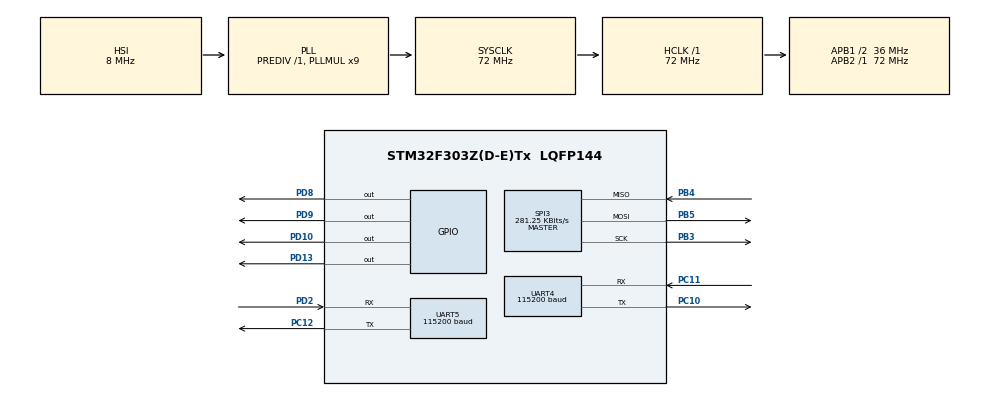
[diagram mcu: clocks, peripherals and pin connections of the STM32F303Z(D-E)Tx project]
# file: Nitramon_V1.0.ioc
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Mcu.Family=STM32F3
Mcu.Name=STM32F303Z(D-E)Tx
Mcu.Package=LQFP144
NVIC.PriorityGroup=NVIC_PRIORITYGROUP_4
PA13.Mode=Serial_Wire
PA13.Signal=SYS_JTMS-SWDIO
PA14.Mode=Serial_Wire
PA14.Signal=SYS_JTCK-SWCLK
PB3.Mode=Full_Duplex_Master
PB3.Signal=SPI3_SCK
PB4.GPIO_PuPd=GPIO_NOPULL
PB4.Mode=Full_Duplex_Master
PB4.Signal=SPI3_MISO
PB5.Mode=Full_Duplex_Master
PB5.Signal=SPI3_MOSI
PC10.GPIO_PuPd=GPIO_NOPULL
PC10.Mode=Asynchronous
PC10.Signal=UART4_TX
PC11.GPIO_PuPd=GPIO_NOPULL
PC11.Mode=Asynchronous
PC11.Signal=UART4_RX
PC12.Mode=Asynchronous
PC12.Signal=UART5_TX
PD10.Signal=GPIO_Output
PD13.Signal=GPIO_Output
PD2.Mode=Asynchronous
PD2.Signal=UART5_RX
PD8.Signal=GPIO_Output
PD9.Signal=GPIO_Output
PF0-OSC_IN.Mode=HSE-External-Oscillator
PF0-OSC_IN.Signal=RCC_OSC_IN
PF1-OSC_OUT.Mode=HSE-External-Oscillator
PF1-OSC_OUT.Signal=RCC_OSC_OUT
ProjectManager.HeapSize=0x200
ProjectManager.StackSize=0x400
ProjectManager.TargetToolchain=STM32CubeIDE
RCC.AHBFreq_Value=72000000
RCC.APB1CLKDivider=RCC_HCLK_DIV2
RCC.APB1Freq_Value=36000000
RCC.APB1TimFreq_Value=72000000
RCC.APB2Freq_Value=72000000
RCC.APB2TimFreq_Value=72000000
RCC.CortexFreq_Value=72000000
RCC.HCLKFreq_Value=72000000
RCC.HSE_VALUE=16000000
RCC.HSI_VALUE=8000000
RCC.LSE_VALUE=32768
RCC.PLLMUL=RCC_PLL_MUL9
RCC.SYSCLKFreq_VALUE=72000000
RCC.SYSCLKSourceVirtual=RCC_SYSCLKSOURCE_PLLCLK
RCC.USBFreq_Value=72000000
SPI3.BaudRatePrescaler=SPI_BAUDRATEPRESCALER_128
SPI3.CLKPhase=SPI_PHASE_2EDGE
SPI3.CalculateBaudRate=281.25 KBits/s
SPI3.DataSize=SPI_DATASIZE_8BIT
SPI3.Direction=SPI_DIRECTION_2LINES
SPI3.Mode=SPI_MODE_MASTER
SPI3.VirtualType=VM_MASTER
UART4.BaudRate=115200
UART5.BaudRate=115200
board=custom

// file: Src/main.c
/* USER CODE BEGIN Header */
/**
  ******************************************************************************
  * @file           : main.c
  * @brief          : Main program body
  ******************************************************************************
  * @attention
  *
  * <h2><center>&copy; Copyright (c) 2020 STMicroelectronics.
  * All rights reserved.</center></h2>
  *
  * This software component is licensed by ST under BSD 3-Clause license,
  * the "License"; You may not use this file except in compliance with the
  * License. You may obtain a copy of the License at:
  *                        opensource.org/licenses/BSD-3-Clause
  *
  ******************************************************************************
  */
/* USER CODE END Header */
#include "main.h"

/* USER CODE BEGIN Includes */
#include "User_Function.h"
#include "Peripheral_Initial.h"
#include "string.h"
#include "stdio.h"
#include<math.h>
#include<stdlib.h>
/* USER CODE END Includes */

/* USER CODE BEGIN PTD */
uint8_t receivedData[40];
uint8_t unit_temp;

uint* temp0;
uint* temp1;
uint* temp2;
uint* temp3;
uint* temp4;
uint* temp5;
uint* temp6;
uint* temp7;
uint* temp8;
uint* temp9;

int8_t *UARTTemp;
char transmit_buffer[40];
uint8_t buff_length;

int method = 0;
char methodName [20];
 char unit[4];

//Variables for Impedance spectroscopy
char frequency_type[6];
char min_frequency_unit[4];
char max_frequency_unit[4];
char error[50];
int rand_count=1;
uint16_t Frequency_List[IS_MaxNoOfSineFreq];
float Frequency_List1[IS_MaxNoOfSineFreq];
uint8_t IS_default_switch_value=0x04;

/* USER CODE END PTD */

SPI_HandleTypeDef hspi3;

UART_HandleTypeDef huart4;
UART_HandleTypeDef huart5;

/* USER CODE BEGIN PV */

//char sendingData[30];
/* USER CODE END PV */

void SystemClock_Config(void);
static void MX_GPIO_Init(void);
static void MX_UART4_Init(void);
static void MX_UART5_Init(void);
static void MX_SPI3_Init(void);

/* USER CODE BEGIN 0 */
void Nucleo_LED(void);
void Nucleo_LED()
{
	RCC->AHBENR |= 0x040000;
	GPIOB->MODER |=0x4000;
	LED_On_GPIO_SetLow(GPIOB,GPIO_PIN_7);
//	LED_Off_GPIO_SetHigh(GPIOB,GPIO_PIN_7);
}

/* USER CODE END 0 */

int main(void)
{

  /* MCU Configuration--------------------------------------------------------*/

  /* Reset of all peripherals, Initializes the Flash interface and the Systick. */
  HAL_Init();

  /* Configure the system clock */
  SystemClock_Config();

  /* Initialize all configured peripherals */
  MX_GPIO_Init();
  MX_UART4_Init();
  MX_UART5_Init();
  MX_SPI3_Init();
  /* USER CODE BEGIN 2 */
  General_GPIO_Init();

  /* USER CODE END 2 */

  /* Infinite loop */
  /* USER CODE BEGIN WHILE */
  Nucleo_LED();

  while(1)
  {

	  	 HAL_UART_Receive(&huart5, receivedData, 40,5000);

	  	  	  	temp9=(uint*)(receivedData[36]|(receivedData[37]<<8)|(receivedData[38]<<16)|(receivedData[39]<<24));
	  	    	temp8=(uint*)(receivedData[32]|(receivedData[33]<<8)|(receivedData[34]<<16)|(receivedData[35]<<24));
	  	    	temp7=(uint*)(receivedData[28]|(receivedData[29]<<8)|(receivedData[30]<<16)|(receivedData[31]<<24));
	  	    	temp6=(uint*)(receivedData[24]|(receivedData[25]<<8)|(receivedData[26]<<16)|(receivedData[27]<<24));
	  	    	temp5=(uint*)(receivedData[20]|(receivedData[21]<<8)|(receivedData[22]<<16)|(receivedData[23]<<24));
	  	    	temp4=(uint*)(receivedData[16]|(receivedData[17]<<8)|(receivedData[18]<<16)|(receivedData[19]<<24));
	  	    	temp3=(uint*)(receivedData[12]|(receivedData[13]<<8)|(receivedData[14]<<16)|(receivedData[15]<<24));
	  	    	temp2=(uint*)(receivedData[8]|(receivedData[9]<<8)|(receivedData[10]<<16)|(receivedData[11]<<24));
	  	    	temp1=(uint*)(receivedData[4]|(receivedData[5]<<8)|(receivedData[6]<<16)|(receivedData[7]<<24));
	  	    	temp0=(uint*)(receivedData[0]|(receivedData[1]<<8)|(receivedData[2]<<16)|(receivedData[3]<<24));

	  	    	int method_temp = *(int*)&temp0;

	  	    	if(method_temp==1)
	  	    	{
	  	    		method= *(int*)&temp0;
	  	    		receivedData[0] = 0;
	  	    		receivedData[1] = 0;
	  	    		receivedData[2] = 0;
	  	    		receivedData[3] = 0;
	  	    		sprintf(methodName,"Cyclic");
	  	    		CVT.estart=*(float*)&temp1;
	  	    		CVT.estop=*(float*)&temp2;
	  	    		CVT.current=*(int*)&temp3;
	  	    		int unit_temp=*(int*)&temp4;
	  	    		if(unit_temp==1)
	  	    		{
	  	    			sprintf(unit,"pA");
	  	    		}
	  	    		else if(unit_temp ==2)
	  	    		{
	  	    			sprintf(unit,"nA");
	  	    		}
	  	    		else if(unit_temp==3)
	  	    		{
	  	    			sprintf(unit,"µA");
	  	    		}
	  	    		else
	  	    		{
	  	    			sprintf(unit,"mA");
	  	    		}
	  	    		CVT.estep=*(float*)&temp5;

	  	    		CVT.scanrate=*(float*)&temp6;
	  	    		CVT.noofscans=*(int*)&temp7;

	  	    	}
	  	    	else if(method_temp==2)
	  	    	{
	  	    		method= *(int*)&temp0;
	  	    		receivedData[0] = 0;
	  	    		receivedData[1] = 0;
	  	    		receivedData[2] = 0;
	  	    		receivedData[3] = 0;
	  	    		sprintf(methodName,"Square wave");
	  	    		CVT.estart=*(float*)&temp1;
	  	    		CVT.estop=*(float*)&temp2;
	  	    		CVT.current=*(int*)&temp3;
	  	    		int unit_temp=*(int*)&temp4;
	  	    		if(unit_temp==1)
	  	    		{
	  	    			sprintf(unit,"pA");
	  	    		}
	  	    		else if(unit_temp ==2)
	  	    		{
	  	    			sprintf(unit,"nA");
	  	    		}
	  	    		else if(unit_temp==3)
	  	    		{
	  	    			sprintf(unit,"µA");
	  	    		}
	  	    		else
	  	    		{
	  	    			sprintf(unit,"mA");
	  	    		}

	  	    		CVT.estep=*(float*)&temp5;
	  	    		SWVT.amplitude=*(float*)&temp6;
	  	    		SWVT.frequency=*(float*)&temp7;

	  	    	}
	  	    	else if(method_temp==4)
	  	    	{
	  	    		method= *(int*)&temp0;
	  	    		receivedData[0] = 0;
	  	    		receivedData[1] = 0;
	  	    		receivedData[2] = 0;
	  	    		receivedData[3] = 0;
	  	    		sprintf(methodName,"Differential pulse");
	  	    		CVT.estart=*(float*)&temp1;
	  	    		CVT.estop=*(float*)&temp2;
	  	    		CVT.current=*(int*)&temp3;
	  	    		int unit_temp=*(int*)&temp4;
	  	    		if(unit_temp==1)
	  	    		{
	  	    			sprintf(unit,"pA");
	  	    		}
	  	    		else if(unit_temp ==2)
	  	    		{
	  	    			sprintf(unit,"nA");
	  	    		}
	  	    		else if(unit_temp==3)
	  	    		{
	  	    			sprintf(unit,"µA");
	  	    		}
	  	    		else
	  	    		{
	  	    			sprintf(unit,"mA");
	  	    		}

	  	    		CVT.estep=*(float*)&temp5;
	  	    		DPVT.amplitude=*(float*)&temp6;
	  	    		CVT.scanrate=*(float*)&temp7;
	  	    		DPVT.Tpulse=*(float*)&temp8;

	  	    	}
	  	    	else if(method_temp==3)
	  	    	{
	  	    		method= *(int*)&temp0;
	  	    		receivedData[0] = 0;
	  	    		receivedData[1] = 0;
	  	    		receivedData[2] = 0;
	  	    		receivedData[3] = 0;
	  	    		sprintf(methodName,"Impedance");
	  	    		IST.edc=*(float*)&temp1;
	  	    		IST.eac=*(float*)&temp2;
	  	    		IST.current=*(int*)&temp3;
	  	    		int unit_temp=*(int*)&temp4;
	  	    		if(unit_temp==1)
	  	    		{
	  	    			sprintf(unit,"pA");
	  	    		}
	  	    		else if(unit_temp ==2)
	  	    		{
	  	    			sprintf(unit,"nA");
	  	    		}
	  	    		else if(unit_temp==3)
	  	    		{
	  	    			sprintf(unit,"µA");
	  	    		}
	  	    		else
	  	    		{
	  	    			sprintf(unit,"mA");
	  	    		}
	  	    		int freqtypeno=*(int*)&temp5;
	  	    		if(freqtypeno==1)
	  	    		{
	  	    			sprintf(frequency_type,"Fixed");
	  	    		}
	  	    		else if (freqtypeno==2)
	  	    		{
	  	    			sprintf(frequency_type,"Scan");
	  	    		}
	  	    		else
	  	    		{
	  	    			sprintf(frequency_type,"NA");
	  	    		}
	  	    		IST.frequency=*(float*)&temp6;
	  	    		IST.min_frequency=*(float*)&temp7;
	  	    		int temp_freqtype;
	  	    		temp_freqtype = *(int*)&temp8;

	  	    		if(temp_freqtype==1)
	  	    		{
	  	    			sprintf(min_frequency_unit,"Hz");
	  	    		}
	  	    		else if (temp_freqtype==2)
	  	    		{
	  	    			sprintf(min_frequency_unit,"kHz");
	  	    		}
	  	    		else
	  	    		{
	  	    			sprintf(min_frequency_unit,"NA");
	  	    		}
	  	    		IST.max_frequency=*(float*)&temp9;
	  	    		if(IST.max_frequency)
	  	    		{
	  	    			sprintf(max_frequency_unit,"kHz");
	  	    		}
	  	    		else
	  	    		{
	  	    			sprintf(max_frequency_unit,"NA");
	  	    		}

	  	    	}
	  	    	else
	  	    	{

	  	    		if(method == 0)
	  	    		{
	  	    			sprintf(error,"Waiting for receivedData");
	  	    		}
	  	    		else
	  	    		{
	  	    			sprintf(error,"Error while receiving receivedData");
	  	    		}
	  	    	}
if(rand_count==1)
{
	if((method==1) | (method==2) | (method==4))
	{

		  CV_Flag_Var_Init();

		  uint8_t switch_volta=0x14;

		  HAL_GPIO_WritePin(GPIOD, GPIO_PIN_10, GPIO_PIN_RESET);

		  HAL_SPI_Transmit(&hspi3,&switch_volta,1,100);

		  HAL_GPIO_WritePin(GPIOD, GPIO_PIN_10, GPIO_PIN_SET);

	}

	else if(method==3)
	{

		  HAL_GPIO_WritePin(GPIOD, GPIO_PIN_10, GPIO_PIN_RESET);

		  HAL_SPI_Transmit(&hspi3,&IS_default_switch_value,1,100);

		  HAL_GPIO_WritePin(GPIOD, GPIO_PIN_10, GPIO_PIN_SET);

		if(IST.frequency!=0)
		{
			Frequency_List[0] = (uint16_t)IST.frequency;
			Frequency_List[1] =0;
			Frequency_List1[0] = IST.frequency;
			Frequency_List1[1] =0;
		}

		else if(IST.min_frequency==1)
		{
			Frequency_List[0]=(uint16_t)IST.min_frequency;
			Frequency_List[1]=2;
			Frequency_List[2]=5;
			Frequency_List[3]=10;
			Frequency_List[4]=25;
			Frequency_List[5]=50;
			Frequency_List[6]=75;
			Frequency_List[7]=100;
			Frequency_List[8]=150;
			Frequency_List[9]=200;
			Frequency_List[10]=250;
			Frequency_List[11]=300;Frequency_List[12]=400;Frequency_List[13]=500;Frequency_List[14]=600;Frequency_List[15]=750;Frequency_List[16]=1000;Frequency_List[17]=1500;Frequency_List[18]=2000;
			Frequency_List[19]=2500;Frequency_List[20]=3000;Frequency_List[21]=5000;Frequency_List[22]=6000;Frequency_List[23]=7500;Frequency_List[24]=9000;Frequency_List[25]=IST.max_frequency*1000;

			Frequency_List1[0]=IST.min_frequency;
			Frequency_List1[1]=2;
			Frequency_List1[2]=5;
			Frequency_List1[3]=10;
			Frequency_List1[4]=25;
			Frequency_List1[5]=50;
			Frequency_List1[6]=75;
			Frequency_List1[7]=100;
			Frequency_List1[8]=150;
			Frequency_List1[9]=200;
			Frequency_List1[10]=250;
			Frequency_List1[11]=300;Frequency_List1[12]=400;Frequency_List1[13]=500;Frequency_List1[14]=600;Frequency_List1[15]=750;Frequency_List1[16]=1000;Frequency_List1[17]=1500;Frequency_List1[18]=2000;
			Frequency_List1[19]=2500;Frequency_List1[20]=3000;Frequency_List1[21]=5000;Frequency_List1[22]=6000;Frequency_List1[23]=7500;Frequency_List1[24]=9000;Frequency_List1[25]=IST.max_frequency*1000;
		}

		else if(IST.min_frequency==10)
		{
			Frequency_List[0]=(uint16_t)IST.min_frequency;
			Frequency_List[1]=25;
			Frequency_List[2]=50;
			Frequency_List[3]=75;
			Frequency_List[4]=100;
			Frequency_List[5]=150;
			Frequency_List[6]=200;
			Frequency_List[7]=250;
			Frequency_List[8]=300;Frequency_List[9]=400;Frequency_List[10]=500;Frequency_List[11]=600;Frequency_List[12]=750;Frequency_List[13]=1000;Frequency_List[14]=1500;Frequency_List[15]=2000;
			Frequency_List[16]=2500;Frequency_List[17]=3000;Frequency_List[18]=5000;Frequency_List[19]=6000;Frequency_List[20]=7500;Frequency_List[21]=9000;Frequency_List[22]=(uint16_t)IST.max_frequency*1000;

			Frequency_List1[0]=IST.min_frequency;
			Frequency_List1[1]=25;
			Frequency_List1[2]=50;
			Frequency_List1[3]=75;
			Frequency_List1[4]=100;
			Frequency_List1[5]=150;
			Frequency_List1[6]=200;
			Frequency_List1[7]=250;
			Frequency_List1[8]=300;Frequency_List1[9]=400;Frequency_List1[10]=500;Frequency_List1[11]=600;Frequency_List1[12]=750;Frequency_List1[13]=1000;Frequency_List1[14]=1500;Frequency_List1[15]=2000;
			Frequency_List1[16]=2500;Frequency_List1[17]=3000;Frequency_List1[18]=5000;Frequency_List1[19]=6000;Frequency_List1[20]=7500;Frequency_List1[21]=9000;Frequency_List1[22]=IST.max_frequency*1000;
		}

		else if(IST.min_frequency==100)
				{
					Frequency_List[0]=(uint16_t)IST.min_frequency;
					Frequency_List[1]=150;
					Frequency_List[2]=200;
					Frequency_List[3]=250;
					Frequency_List[4]=300;Frequency_List[5]=400;Frequency_List[6]=500;Frequency_List[7]=600;Frequency_List[8]=750;Frequency_List[9]=1000;Frequency_List[10]=1500;Frequency_List[11]=2000;
					Frequency_List[12]=2500;Frequency_List[13]=3000;Frequency_List[14]=5000;Frequency_List[15]=6000;Frequency_List[16]=7500;Frequency_List[17]=9000;Frequency_List[18]=(uint16_t)IST.max_frequency*1000;

					Frequency_List1[0]=IST.min_frequency;
					Frequency_List1[1]=150;
					Frequency_List1[2]=200;
					Frequency_List1[3]=250;
					Frequency_List1[4]=300;Frequency_List1[5]=400;Frequency_List1[6]=500;Frequency_List1[7]=600;Frequency_List1[8]=750;Frequency_List1[9]=1000;Frequency_List1[10]=1500;Frequency_List1[11]=2000;
					Frequency_List1[12]=2500;Frequency_List1[13]=3000;Frequency_List1[14]=5000;Frequency_List1[15]=6000;Frequency_List1[16]=7500;Frequency_List1[17]=9000;Frequency_List1[18]=IST.max_frequency*1000;
				}
		else if(IST.min_frequency==1000)
				{
					Frequency_List[0]=(uint16_t)IST.min_frequency;Frequency_List[1]=1500;Frequency_List[2]=2000;
					Frequency_List[3]=2500;Frequency_List[4]=3000;Frequency_List[5]=5000;Frequency_List[6]=6000;Frequency_List[7]=7500;Frequency_List[8]=9000;Frequency_List[9]=(uint16_t)IST.max_frequency*1000;

					Frequency_List1[0]=IST.min_frequency;Frequency_List1[1]=1500;Frequency_List1[2]=2000;
					Frequency_List1[3]=2500;Frequency_List1[4]=3000;Frequency_List1[5]=5000;Frequency_List1[6]=6000;Frequency_List1[7]=7500;Frequency_List1[8]=9000;Frequency_List1[9]=IST.max_frequency*1000;
				}

		IS_Start();

	}
}
if(method==1)
{
	CV_Start();
	rand_count=2;

}
else if(method==2)
{
	SWV_Start();
	rand_count=2;

}
else if(method==4)
{
	DPV_Start();
	rand_count=2;

}
else if(method==3)
{
	IS_Complete();
	rand_count=2;
}
else
{
	rand_count=1;
}

    /* USER CODE END WHILE */

  }
}

void SystemClock_Config(void)
{
  RCC_OscInitTypeDef RCC_OscInitStruct = {0};
  RCC_ClkInitTypeDef RCC_ClkInitStruct = {0};
  RCC_PeriphCLKInitTypeDef PeriphClkInit = {0};

  /** Initializes the RCC Oscillators according to the specified parameters
  * in the RCC_OscInitTypeDef structure.
  */
  RCC_OscInitStruct.OscillatorType = RCC_OSCILLATORTYPE_HSI;
  RCC_OscInitStruct.HSIState = RCC_HSI_ON;
  RCC_OscInitStruct.HSICalibrationValue = RCC_HSICALIBRATION_DEFAULT;
  RCC_OscInitStruct.PLL.PLLState = RCC_PLL_ON;
  RCC_OscInitStruct.PLL.PLLSource = RCC_PLLSOURCE_HSI;
  RCC_OscInitStruct.PLL.PLLMUL = RCC_PLL_MUL9;
  RCC_OscInitStruct.PLL.PREDIV = RCC_PREDIV_DIV1;
  if (HAL_RCC_OscConfig(&RCC_OscInitStruct) != HAL_OK)
  {
    Error_Handler();
  }
  /** Initializes the CPU, AHB and APB buses clocks
  */
  RCC_ClkInitStruct.ClockType = RCC_CLOCKTYPE_HCLK|RCC_CLOCKTYPE_SYSCLK
                              |RCC_CLOCKTYPE_PCLK1|RCC_CLOCKTYPE_PCLK2;
  RCC_ClkInitStruct.SYSCLKSource = RCC_SYSCLKSOURCE_PLLCLK;
  RCC_ClkInitStruct.AHBCLKDivider = RCC_SYSCLK_DIV1;
  RCC_ClkInitStruct.APB1CLKDivider = RCC_HCLK_DIV2;
  RCC_ClkInitStruct.APB2CLKDivider = RCC_HCLK_DIV1;

  if (HAL_RCC_ClockConfig(&RCC_ClkInitStruct, FLASH_LATENCY_2) != HAL_OK)
  {
    Error_Handler();
  }
  PeriphClkInit.PeriphClockSelection = RCC_PERIPHCLK_UART4|RCC_PERIPHCLK_UART5;
  PeriphClkInit.Uart4ClockSelection = RCC_UART4CLKSOURCE_PCLK1;
  PeriphClkInit.Uart5ClockSelection = RCC_UART5CLKSOURCE_PCLK1;
  if (HAL_RCCEx_PeriphCLKConfig(&PeriphClkInit) != HAL_OK)
  {
    Error_Handler();
  }
}

static void MX_SPI3_Init(void)
{

  /* SPI3 parameter configuration*/
  hspi3.Instance = SPI3;
  hspi3.Init.Mode = SPI_MODE_MASTER;
  hspi3.Init.Direction = SPI_DIRECTION_2LINES;
  hspi3.Init.DataSize = SPI_DATASIZE_8BIT;
  hspi3.Init.CLKPolarity = SPI_POLARITY_LOW;
  hspi3.Init.CLKPhase = SPI_PHASE_2EDGE;
  hspi3.Init.NSS = SPI_NSS_SOFT;
  hspi3.Init.BaudRatePrescaler = SPI_BAUDRATEPRESCALER_128;
  hspi3.Init.FirstBit = SPI_FIRSTBIT_MSB;
  hspi3.Init.TIMode = SPI_TIMODE_DISABLE;
  hspi3.Init.CRCCalculation = SPI_CRCCALCULATION_DISABLE;
  hspi3.Init.CRCPolynomial = 7;
  hspi3.Init.CRCLength = SPI_CRC_LENGTH_DATASIZE;
  hspi3.Init.NSSPMode = SPI_NSS_PULSE_DISABLE;
  if (HAL_SPI_Init(&hspi3) != HAL_OK)
  {
    Error_Handler();
  }

}

static void MX_UART4_Init(void)
{

  huart4.Instance = UART4;
  huart4.Init.BaudRate = 115200;
  huart4.Init.WordLength = UART_WORDLENGTH_8B;
  huart4.Init.StopBits = UART_STOPBITS_1;
  huart4.Init.Parity = UART_PARITY_NONE;
  huart4.Init.Mode = UART_MODE_TX_RX;
  huart4.Init.HwFlowCtl = UART_HWCONTROL_NONE;
  huart4.Init.OverSampling = UART_OVERSAMPLING_16;
  huart4.Init.OneBitSampling = UART_ONE_BIT_SAMPLE_DISABLE;
  huart4.AdvancedInit.AdvFeatureInit = UART_ADVFEATURE_NO_INIT;
  if (HAL_UART_Init(&huart4) != HAL_OK)
  {
    Error_Handler();
  }

}

static void MX_UART5_Init(void)
{

  huart5.Instance = UART5;
  huart5.Init.BaudRate = 115200;
  huart5.Init.WordLength = UART_WORDLENGTH_8B;
  huart5.Init.StopBits = UART_STOPBITS_1;
  huart5.Init.Parity = UART_PARITY_NONE;
  huart5.Init.Mode = UART_MODE_TX_RX;
  huart5.Init.HwFlowCtl = UART_HWCONTROL_NONE;
  huart5.Init.OverSampling = UART_OVERSAMPLING_16;
  huart5.Init.OneBitSampling = UART_ONE_BIT_SAMPLE_DISABLE;
  huart5.AdvancedInit.AdvFeatureInit = UART_ADVFEATURE_NO_INIT;
  if (HAL_UART_Init(&huart5) != HAL_OK)
  {
    Error_Handler();
  }

}

static void MX_GPIO_Init(void)
{
  GPIO_InitTypeDef GPIO_InitStruct = {0};

  /* GPIO Ports Clock Enable */
  __HAL_RCC_GPIOF_CLK_ENABLE();
  __HAL_RCC_GPIOD_CLK_ENABLE();
  __HAL_RCC_GPIOA_CLK_ENABLE();
  __HAL_RCC_GPIOC_CLK_ENABLE();
  __HAL_RCC_GPIOB_CLK_ENABLE();

  /*Configure GPIO pin Output Level */
  HAL_GPIO_WritePin(GPIOD, GPIO_PIN_8|GPIO_PIN_9|GPIO_PIN_10|GPIO_PIN_13, GPIO_PIN_RESET);

  /*Configure GPIO pins : PD8 PD9 PD10 PD13 */
  GPIO_InitStruct.Pin = GPIO_PIN_8|GPIO_PIN_9|GPIO_PIN_10|GPIO_PIN_13;
  GPIO_InitStruct.Mode = GPIO_MODE_OUTPUT_PP;
  GPIO_InitStruct.Pull = GPIO_NOPULL;
  GPIO_InitStruct.Speed = GPIO_SPEED_FREQ_LOW;
  HAL_GPIO_Init(GPIOD, &GPIO_InitStruct);

}

void Error_Handler(void)
{
}
